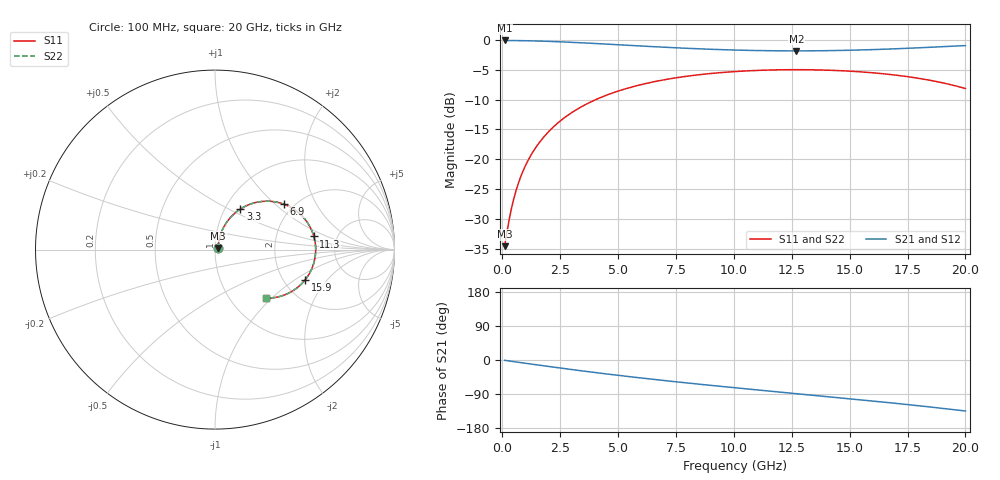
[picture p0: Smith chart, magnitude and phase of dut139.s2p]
! Touchstone file exported from HFSS 2026.1.0
!  File:  C:/ffzhzh/LocalFiles/Ansys_Project_Files/temp_train_TSV_RDL_139_1783050509_17544.aedt
!  Generated:  12:04:16 PM Jul  3, 2026
!  Design:  TSV_RDL
!  Project:  temp_train_TSV_RDL_139_1783050509_17544
! Variables:
!  h_bsmrdl = 5.44um
!  h_ox = 20um
!  h_rdl = 5um
!  h_sub = 96.77um
!  h_tmrdl = 5.49um
!  h_tsv = 96.77um
!  h_via = 3um
!  l_bsmrdl = 305.26um
!  l_sub = 2092.06um
!  l_tmrdl = 154.86um
!  m_sub = 200um
!  pitch = 55.73um
!  r_tsv = 2.41um
!  s_tmrdl = 10um
!  w_bsmrdl = 28.22um
!  w_sub = 500um
!  w_tmrdl = 24.06um
!  x_tsv_center1 = 166.89um
!  x_tsv_center2 = 500.37um
!  x_tsv_center3 = 679.29um
!  x_tsv_center4 = 1012.77um
!  x_tsv_center5 = 1191.69um
!  x_tsv_center6 = 1525.17um
# GHz S MA R 50.000000
! Terminal data exported
! Port[1] = TM_RDL1_1_T1
! Port[2] = TM_RDL5_1_T1
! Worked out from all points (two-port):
!   200 points, 100 MHz to 20 GHz, reference 50 ohm
!   highest |S21| = -0.15 dB at 100 MHz (marker M1); lowest = -1.9 dB at 12.7 GHz (marker M2)
!   |S21| within 3 dB of the highest: start of sweep to end of sweep
!   lowest |S11| = -34.5 dB at 100 MHz (marker M3), VSWR 1.04, Z = 51.7 + j0.92 ohm
!   |S11| at or under -10 dB: start of sweep to 4.048 GHz
!   |S22| runs from -34.5 to -5.0 dB; largest |S21 - S12| = 3.7e-14
!   S11 on the Smith chart (normalised r, x): 100 MHz: 1.03, +0.02; 3.3 GHz: 1.18, +0.57; 6.9 GHz: 1.77, +1.14; 11.3 GHz: 3.34, +0.71; 15.9 GHz: 2.62, -1.22; 20 GHz: 1.44, -0.92
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0.1  0.01889 28.1  0.9834 -0.9  0.9834 -0.9  0.01889 28.1
! Gamma 0 0 0 0
! Port Impedance 50 0 50 0
0.3  0.03168 54.8  0.9826 -2.6  0.9826 -2.6  0.03168 54.8
0.5  0.04728 64.2  0.9817 -4.3  0.9817 -4.3  0.04728 64.2
0.8  0.07199 68.9  0.98 -6.9  0.98 -6.9  0.07199 68.9
1.1  0.09704 69.9  0.9776 -9.5  0.9776 -9.5  0.09704 69.9
1.5  0.1302 69.0  0.9733 -12.9  0.9733 -12.9  0.1302 69.0
2  0.1705 66.5  0.9664 -17.1  0.9664 -17.1  0.1705 66.5
2.6  0.2167 62.7  0.9564 -22.0  0.9564 -22.0  0.2167 62.7
3.3  0.2671 57.9  0.9429 -27.6  0.9429 -27.6  0.2671 57.9
3.5  0.2807 56.5  0.9387 -29.2  0.9387 -29.2  0.2807 56.5
5  0.3717 46.1  0.9058 -40.4  0.9058 -40.4  0.3717 46.1
6.8  0.4547 34.2  0.8673 -52.9  0.8673 -52.9  0.4547 34.2
6.9  0.4585 33.6  0.8654 -53.6  0.8654 -53.6  0.4585 33.6
8.5  0.5092 23.7  0.8373 -63.9  0.8373 -63.9  0.5092 23.7
10.1  0.5418 14.4  0.8173 -73.6  0.8173 -73.6  0.5418 14.4
11.3  0.5556 7.6  0.8084 -80.6  0.8084 -80.6  0.5556 7.6
12.7  0.561 -0.3  0.8048 -88.7  0.8048 -88.7  0.561 -0.3
13.4  0.5595 -4.2  0.8058 -92.8  0.8058 -92.8  0.5595 -4.2
15.9  0.5304 -18.4  0.8237 -107.6  0.8237 -107.6  0.5304 -18.4
16.7  0.5127 -23.1  0.8338 -112.5  0.8338 -112.5  0.5127 -23.1
18.4  0.4602 -33.5  0.8611 -123.5  0.8611 -123.5  0.4602 -33.5
20  0.3905 -43.8  0.8913 -134.6  0.8913 -134.6  0.3905 -43.8
